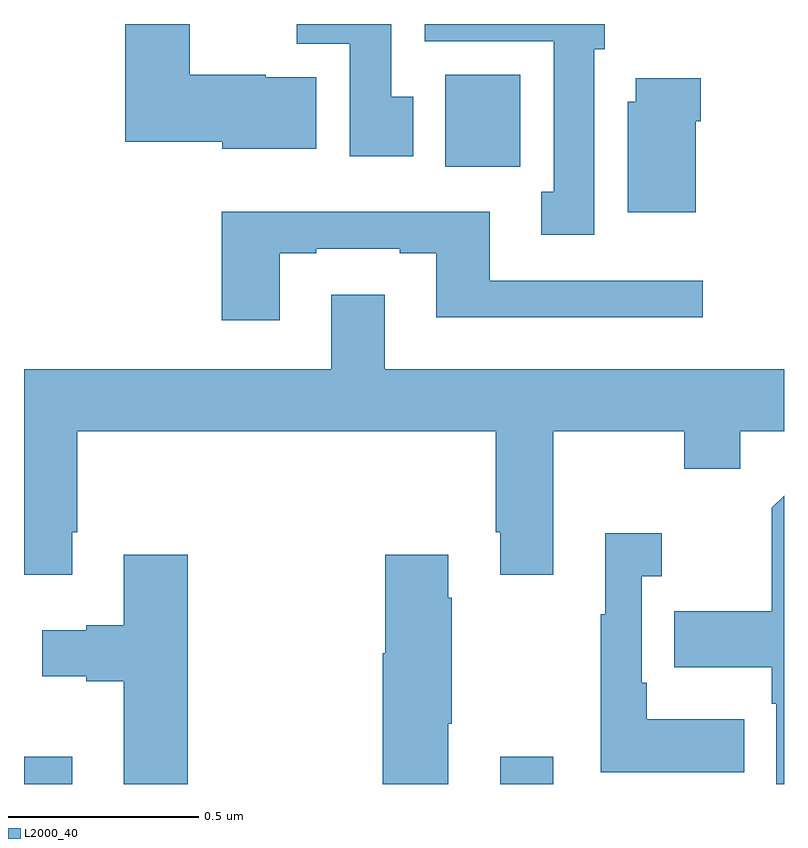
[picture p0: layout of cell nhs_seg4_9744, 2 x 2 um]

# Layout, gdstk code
import gdstk
lib = gdstk.Library(unit=1e-6, precision=1e-09)
def R(c, l, rs):  # rectangles x0, y0, x1, y1
    for r in rs: c.add(gdstk.rectangle(r[:2], r[2:], *l))
def P(c, l, *ps):  # polygons
    for p in ps: c.add(gdstk.Polygon(p, *l))
L2000_40 = (2000, 40)

nhs_seg4_9744 = lib.new_cell('nhs_seg4_9744')
R(nhs_seg4_9744, L2000_40, [(231,787.9,231.127,787.972), (232.253,787.9,232.393,787.972), (232.109,789.524,232.306,789.766)])
P(nhs_seg4_9744, L2000_40, [(232.501,789.834),(232.528,789.834),(232.528,789.9),(232.055,789.9),(232.055,789.854),(232.394,789.854),(232.394,789.458),(232.361,789.458),(232.361,789.345),(232.501,789.345)],
  [(232.024,789.708),(231.967,789.708),(231.967,789.9),(231.718,789.9),(231.718,789.848),(231.857,789.848),(231.857,789.552),(232.024,789.552)],
  [(231.769,789.76),(231.636,789.76),(231.636,789.766),(231.436,789.766),(231.436,789.9),(231.266,789.9),(231.266,789.59),(231.522,789.59),(231.522,789.572),(231.769,789.572)],
  [(232.768,789.644),(232.781,789.644),(232.781,789.757),(232.61,789.757),(232.61,789.696),(232.589,789.696),(232.589,789.404),(232.768,789.404)],
  [(231.673,789.297),(231.769,789.297),(231.769,789.309),(231.989,789.309),(231.989,789.297),(232.085,789.297),(232.085,789.128),(232.786,789.128),(232.786,789.225),(232.225,789.225),(232.225,789.406),(231.521,789.406),(231.521,789.12),(231.673,789.12)],
  [(231.127,788.563),(231.14,788.563),(231.14,788.828),(232.241,788.828),(232.241,788.563),(232.253,788.563),(232.253,788.451),(232.393,788.451),(232.393,788.828),(232.738,788.828),(232.738,788.729),(232.885,788.729),(232.885,788.828),(233,788.828),(233,788.992),(231.949,788.992),(231.949,789.187),(231.809,789.187),(231.809,788.992),(231,788.992),(231,788.451),(231.127,788.451)],
  [(233,788.659),(232.968,788.627),(232.968,788.355),(232.711,788.355),(232.711,788.207),(232.968,788.207),(232.968,788.111),(232.98,788.111),(232.98,787.9),(233,787.9)],
  [(232.895,788.071),(232.639,788.071),(232.639,788.167),(232.626,788.167),(232.626,788.447),(232.678,788.447),(232.678,788.56),(232.529,788.56),(232.529,788.347),(232.518,788.347),(232.518,787.931),(232.895,787.931)],
  [(232.117,788.059),(232.125,788.059),(232.125,788.39),(232.117,788.39),(232.117,788.503),(231.95,788.503),(231.95,788.244),(231.944,788.244),(231.944,787.9),(232.117,787.9)],
  [(231.431,788.503),(231.263,788.503),(231.263,788.318),(231.164,788.318),(231.164,788.305),(231.048,788.305),(231.048,788.183),(231.164,788.183),(231.164,788.171),(231.263,788.171),(231.263,787.9),(231.431,787.9)])

lib.write_gds('nhs_seg4_9744.gds')
